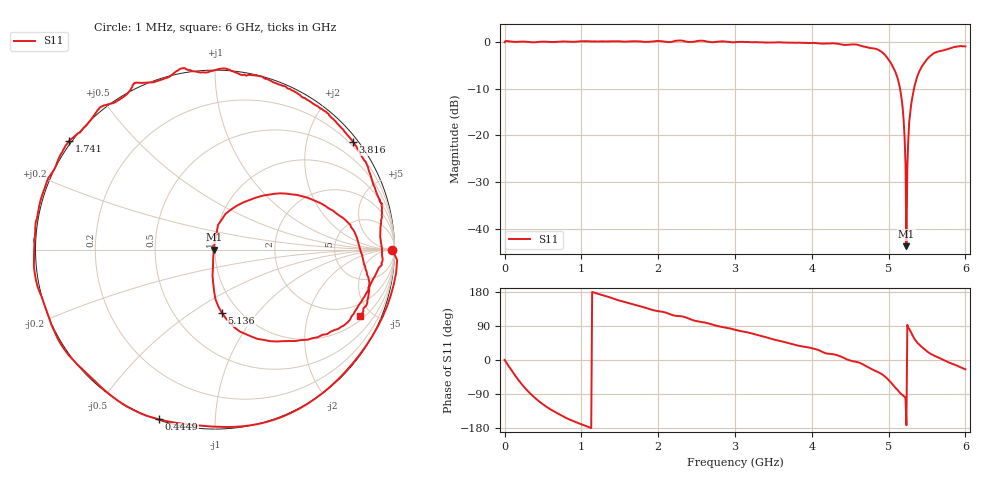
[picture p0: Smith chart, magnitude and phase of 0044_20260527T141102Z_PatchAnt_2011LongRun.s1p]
# Hz S RI R 50
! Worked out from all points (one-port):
!   501 points, 1 MHz to 6 GHz, reference 50 ohm
!   lowest |S11| = -43.7 dB at 5.232 GHz (marker M1), VSWR 1.01, Z = 49.4 - j0.0899 ohm
!   |S11| at or under -10 dB: 5.149 GHz to 5.332 GHz (182.5 MHz wide, 3.48 % of centre)
!   S11 on the Smith chart (normalised r, x): 1 MHz: open; 444.9 MHz: 0.00, -0.72; 1.741 GHz: -0.01, +0.33; 3.816 GHz: 0.12, +2.90; 5.136 GHz: 0.83, -0.67; 6 GHz: 1.19, -4.27
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1000000  0.9879 0.000238
8.4986e7  0.9059 -0.4307
2.16964e8  0.4685 -0.887
3.0095e8  0.1471 -0.985
4.44926e8  -0.3135 -0.945
7.56874e8  -0.8556 -0.5314
1.068822e9  -1.009 -0.0911
1.50075e9  -0.927 0.4026
1.74071e9  -0.813 0.6051
2.256624e9  -0.4542 0.9225
3.0005e9  0.1734 0.9685
3.756374e9  0.7354 0.6418
3.816364e9  0.7676 0.6003
4.308282e9  0.9308 0.2309
4.50025e9  0.9311 -0.019
4.86019e9  0.7036 -0.4298
5.028162e9  0.3085 -0.5101
5.136144e9  0.038 -0.3517
5.184136e9  -0.00945 -0.1932
5.196134e9  -0.0139 -0.1451
5.208132e9  -0.0112 -0.0953
5.232128e9  -0.0065 -0.000911
5.256124e9  0.00815 0.0872
5.268122e9  0.0163 0.1366
5.292118e9  0.0584 0.199
5.412098e9  0.3965 0.3121
5.628062e9  0.7705 0.1099
6e9  0.8096 -0.3706
